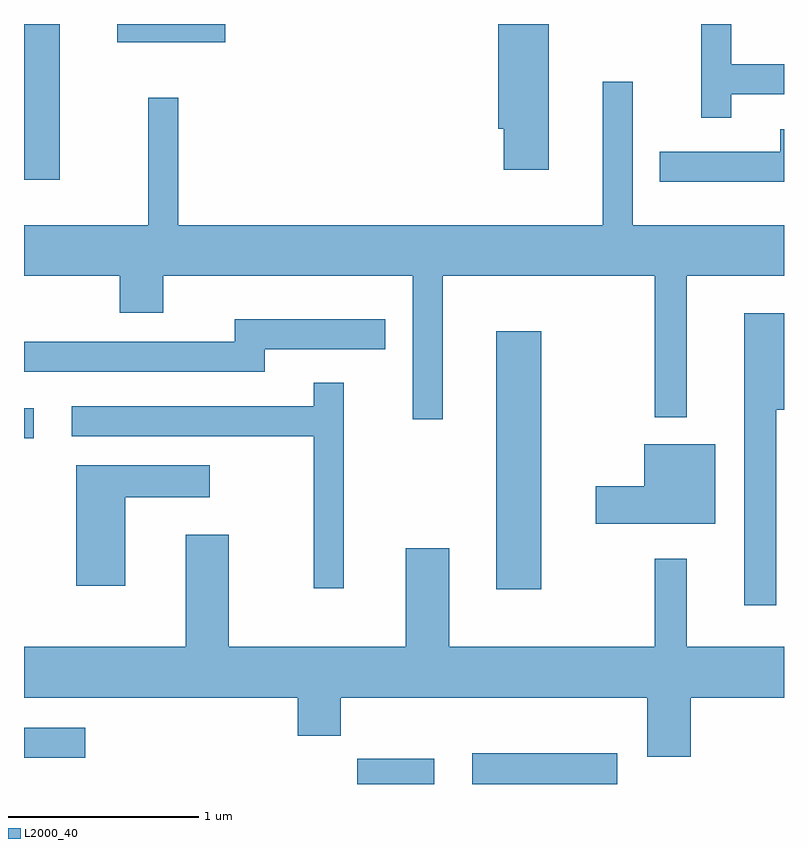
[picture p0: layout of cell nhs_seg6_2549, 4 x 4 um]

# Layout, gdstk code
import gdstk
lib = gdstk.Library(unit=1e-6, precision=1e-09)
def R(c, l, rs):  # rectangles x0, y0, x1, y1
    for r in rs: c.add(gdstk.rectangle(r[:2], r[2:], *l))
def P(c, l, *ps):  # polygons
    for p in ps: c.add(gdstk.Polygon(p, *l))
L2000_40 = (2000, 40)

nhs_seg6_2549 = lib.new_cell('nhs_seg6_2549')
R(nhs_seg6_2549, L2000_40, [(263.366,1636.162,263.769,1636.294), (263.971,1636.162,264.734,1636.324), (261.611,1636.301,261.933,1636.459), (264.096,1637.186,264.334,1638.544), (261.611,1637.981,261.663,1638.139), (261.611,1639.341,261.799,1640.162), (262.101,1640.066,262.669,1640.162)])
P(nhs_seg6_2549, L2000_40, [(265.334,1639.791),(265.611,1639.791),(265.611,1639.949),(265.334,1639.949),(265.334,1640.162),(265.176,1640.162),(265.176,1639.668),(265.334,1639.668)],
  [(264.374,1640.162),(264.106,1640.162),(264.106,1639.611),(264.136,1639.611),(264.136,1639.396),(264.374,1639.396)],
  [(262.424,1639.773),(262.266,1639.773),(262.266,1639.104),(261.611,1639.104),(261.611,1638.836),(262.116,1638.836),(262.116,1638.641),(262.344,1638.641),(262.344,1638.836),(263.656,1638.836),(263.656,1638.083),(263.814,1638.083),(263.814,1638.836),(264.931,1638.836),(264.931,1638.093),(265.099,1638.093),(265.099,1638.836),(265.611,1638.836),(265.611,1639.104),(264.814,1639.104),(264.814,1639.858),(264.656,1639.858),(264.656,1639.104),(262.424,1639.104)],
  [(265.611,1639.609),(265.591,1639.609),(265.591,1639.489),(264.958,1639.489),(264.958,1639.331),(265.611,1639.331)],
  [(265.569,1638.131),(265.611,1638.131),(265.611,1638.639),(265.401,1638.639),(265.401,1637.103),(265.569,1637.103)],
  [(262.879,1638.451),(263.513,1638.451),(263.513,1638.609),(262.721,1638.609),(262.721,1638.489),(261.611,1638.489),(261.611,1638.331),(262.879,1638.331)],
  [(263.294,1638.273),(263.136,1638.273),(263.136,1638.149),(261.863,1638.149),(261.863,1637.991),(263.136,1637.991),(263.136,1637.193),(263.294,1637.193)],
  [(265.249,1637.949),(264.876,1637.949),(264.876,1637.729),(264.621,1637.729),(264.621,1637.531),(265.249,1637.531)],
  [(262.144,1637.671),(262.588,1637.671),(262.588,1637.839),(261.886,1637.839),(261.886,1637.206),(262.144,1637.206)],
  [(265.119,1636.616),(265.611,1636.616),(265.611,1636.884),(265.099,1636.884),(265.099,1637.348),(264.931,1637.348),(264.931,1636.884),(263.849,1636.884),(263.849,1637.404),(263.621,1637.404),(263.621,1636.884),(262.689,1636.884),(262.689,1637.474),(262.461,1637.474),(262.461,1636.884),(261.611,1636.884),(261.611,1636.616),(263.051,1636.616),(263.051,1636.416),(263.279,1636.416),(263.279,1636.616),(264.891,1636.616),(264.891,1636.306),(265.119,1636.306)])

lib.write_gds('nhs_seg6_2549.gds')
